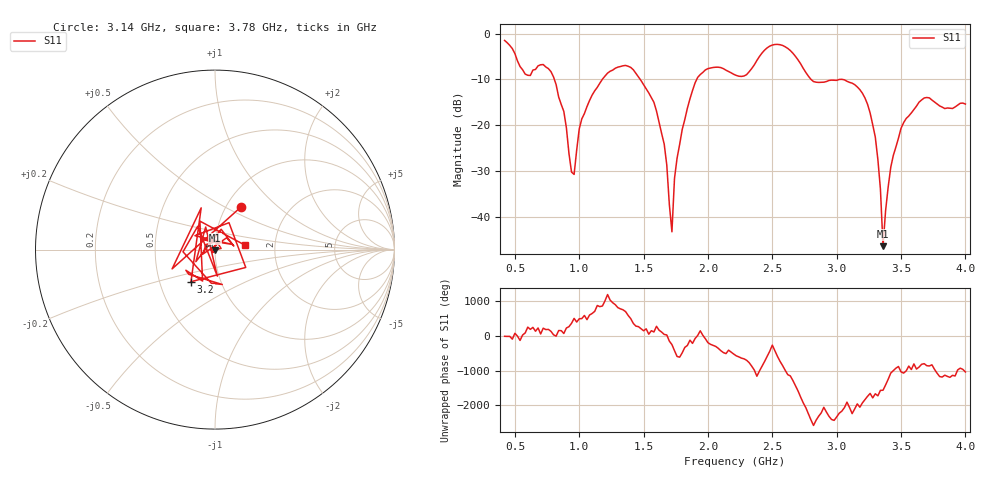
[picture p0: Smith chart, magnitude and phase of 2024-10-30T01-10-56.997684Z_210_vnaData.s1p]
!Created with skrf (http://scikit-rf.org).
# Hz S RI R 50.0
!freq ReS11 ImS11
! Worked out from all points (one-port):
!   180 points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, 420 MHz to 4 GHz, reference 50 ohm
!   lowest |S11| = -46.4 dB at 3.36 GHz (marker M1), VSWR 1.01, Z = 49.7 - j0.397 ohm
!   |S11| at or under -10 dB: 806.7 MHz to 1.179 GHz (372 MHz wide, 37.5 % of centre); 1.474 GHz to 1.912 GHz (438.8 MHz wide, 25.9 % of centre); 3.045 GHz to end of sweep (the widest 3 of 4)
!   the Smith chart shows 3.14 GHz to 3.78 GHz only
!   S11 on the Smith chart (normalised r, x): 3.14 GHz: 1.17, +0.60; 3.2 GHz: 0.72, -0.27; 3.78 GHz: 1.40, +0.07
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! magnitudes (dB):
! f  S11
! 420 MHz  -1.5
! 580 MHz  -8.8
! 780 MHz  -8.3
! 880 MHz  -17.0
! 960 MHz  -30.8
! 1 GHz  -20.8
! 1.08 GHz  -14.6
! 1.32 GHz  -7.2
! 1.58 GHz  -15.0
! 1.66 GHz  -24.1
! 1.72 GHz  -43.3
! 1.74 GHz  -31.6
! 1.78 GHz  -24.2
! 1.92 GHz  -9.5
! 2.22 GHz  -9.1
! 2.5 GHz  -2.5
! 2.66 GHz  -4.3
! 2.82 GHz  -10.5
! 3.12 GHz  -10.8
! 3.14 GHz  -11.1
! 3.2 GHz  -13.0
! 3.3 GHz  -22.6
! 3.34 GHz  -34.0
! 3.36 GHz  -46.4
! 3.42 GHz  -29.2
! 3.56 GHz  -18.0
! 3.78 GHz  -15.4
! 4 GHz  -15.4
